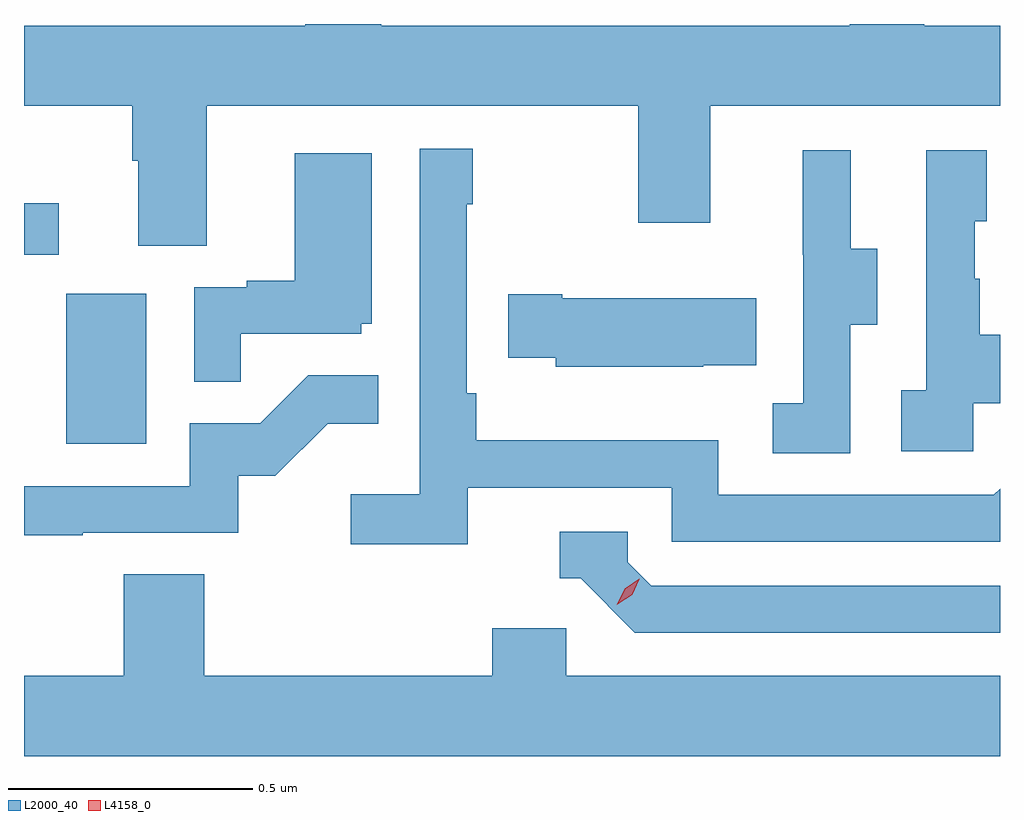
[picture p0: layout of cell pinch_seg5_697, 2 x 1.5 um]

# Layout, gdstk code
import gdstk
lib = gdstk.Library(unit=1e-6, precision=1e-09)
def R(c, l, rs):  # rectangles x0, y0, x1, y1
    for r in rs: c.add(gdstk.rectangle(r[:2], r[2:], *l))
def P(c, l, *ps):  # polygons
    for p in ps: c.add(gdstk.Polygon(p, *l))
L2000_40 = (2000, 40)
L4158_0 = (4158, 0)

pinch_seg5_697 = lib.new_cell('pinch_seg5_697')
R(pinch_seg5_697, L2000_40, [(1089.728,840.084,1089.892,840.391), (1089.641,840.471,1089.712,840.577)])
P(pinch_seg5_697, L2000_40, [(1090.015,840.776),(1090.9,840.776),(1090.9,840.537),(1091.047,840.537),(1091.047,840.776),(1091.641,840.776),(1091.641,840.94),(1091.486,840.94),(1091.486,840.944),(1091.333,840.944),(1091.333,840.94),(1090.373,840.94),(1090.373,840.944),(1090.217,840.944),(1090.217,840.94),(1089.641,840.94),(1089.641,840.776),(1089.863,840.776),(1089.863,840.664),(1089.875,840.664),(1089.875,840.49),(1090.015,840.49)],
  [(1090.55,839.994),(1090.968,839.994),(1090.968,839.883),(1091.641,839.883),(1091.641,839.992),(1091.628,839.979),(1091.064,839.979),(1091.064,840.091),(1090.568,840.091),(1090.568,840.187),(1090.548,840.187),(1090.548,840.575),(1090.561,840.575),(1090.561,840.688),(1090.452,840.688),(1090.452,839.98),(1090.311,839.98),(1090.311,839.878),(1090.55,839.878)],
  [(1091.334,840.328),(1091.389,840.328),(1091.389,840.483),(1091.335,840.483),(1091.335,840.685),(1091.237,840.685),(1091.237,840.471),(1091.238,840.471),(1091.238,840.167),(1091.175,840.167),(1091.175,840.064),(1091.334,840.064)],
  [(1091.586,840.167),(1091.641,840.167),(1091.641,840.307),(1091.599,840.307),(1091.599,840.422),(1091.589,840.422),(1091.589,840.54),(1091.614,840.54),(1091.614,840.685),(1091.49,840.685),(1091.49,840.194),(1091.439,840.194),(1091.439,840.069),(1091.586,840.069)],
  [(1090.085,840.309),(1090.332,840.309),(1090.332,840.33),(1090.354,840.33),(1090.354,840.679),(1090.196,840.679),(1090.196,840.418),(1090.097,840.418),(1090.097,840.405),(1089.99,840.405),(1089.99,840.211),(1090.085,840.211)],
  [(1091.033,840.245),(1091.141,840.245),(1091.141,840.382),(1090.744,840.382),(1090.744,840.39),(1090.633,840.39),(1090.633,840.26),(1090.731,840.26),(1090.731,840.242),(1091.033,840.242)],
  [(1089.761,839.901),(1090.08,839.901),(1090.08,840.018),(1090.156,840.018),(1090.263,840.125),(1090.367,840.125),(1090.367,840.224),(1090.223,840.224),(1090.125,840.126),(1089.981,840.126),(1089.981,839.997),(1089.641,839.997),(1089.641,839.896),(1089.761,839.896)],
  [(1091.641,839.793),(1090.926,839.793),(1090.878,839.841),(1090.878,839.904),(1090.739,839.904),(1090.739,839.808),(1090.782,839.808),(1090.893,839.697),(1091.641,839.697)],
  [(1091.641,839.608),(1090.752,839.608),(1090.752,839.706),(1090.601,839.706),(1090.601,839.608),(1090.01,839.608),(1090.01,839.816),(1089.845,839.816),(1089.845,839.608),(1089.641,839.608),(1089.641,839.444),(1091.641,839.444)])
P(pinch_seg5_697, L4158_0, [(1090.856,839.754),(1090.856,839.754),(1090.872,839.787),(1090.902,839.807),(1090.902,839.807),(1090.902,839.806),(1090.887,839.774),(1090.856,839.754)])

lib.write_gds('pinch_seg5_697.gds')
